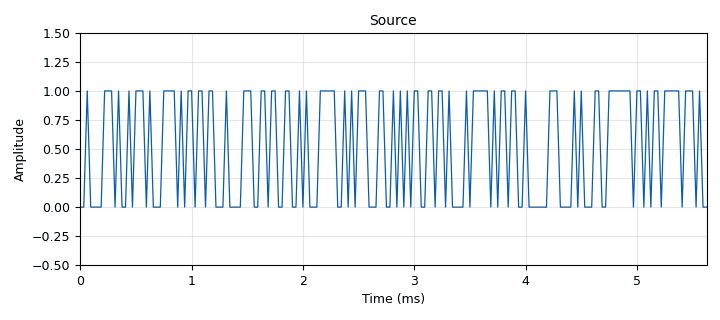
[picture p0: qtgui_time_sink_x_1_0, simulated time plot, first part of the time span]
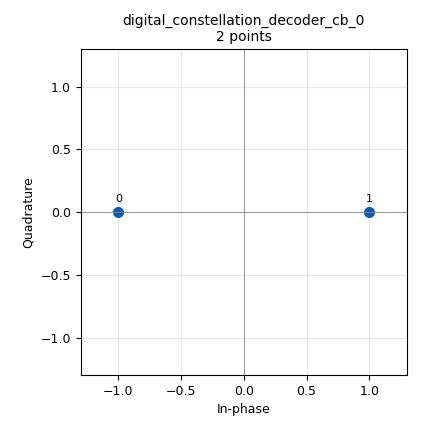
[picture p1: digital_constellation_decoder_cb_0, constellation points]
options:
  parameters:
    category: Custom
    generate_options: qt_gui
    id: bpsk_stage1
    output_language: python
    title: bpsk_stage1
  states: {}

blocks:
- name: bpsk
  id: variable_constellation
  parameters:
    precision: '8'
    type: bpsk
  states: {}
- name: excess_bw
  id: variable
  parameters:
    value: '0.35'
  states: {}
- name: rrc_taps
  id: variable
  parameters:
    value: firdes.root_raised_cosine(1, sps, 1, excess_bw, 45)
  states: {}
- name: samp_rate
  id: variable
  parameters:
    value: '32000'
  states: {}
- name: sps
  id: variable
  parameters:
    value: '4'
  states: {}
- name: ErTools_BitErrorRate_0
  id: ErTools_BitErrorRate
  parameters:
    EbN0max: '16'
    EbN0min: '0'
    N: '64'
    Rb: '1'
    fvz: '8'
  states: {}
- name: analog_fastnoise_source_x_0
  id: analog_fastnoise_source_x
  parameters:
    amp: '1'
    noise_type: analog.GR_GAUSSIAN
    samples: '8192'
    seed: '0'
    type: complex
  states: {}
- name: analog_random_source_x_0
  id: analog_random_source_x
  parameters:
    max: '2'
    min: '0'
    num_samps: '1024'
    repeat: 'True'
    type: byte
  states: {}
- name: blocks_add_xx_0
  id: blocks_add_xx
  parameters:
    type: complex
  states: {}
- name: blocks_char_to_float_0
  id: blocks_char_to_float
  parameters:
    scale: '1'
  states: {}
- name: blocks_char_to_float_0_0
  id: blocks_char_to_float
  parameters:
    scale: '1'
  states: {}
- name: blocks_stream_to_vector_0
  id: blocks_stream_to_vector
  parameters:
    num_items: '64'
    type: float
  states: {}
- name: blocks_throttle2_0
  id: blocks_throttle2
  parameters:
    samples_per_second: samp_rate
    type: complex
  states: {}
- name: blocks_throttle2_1
  id: blocks_throttle2
  parameters:
    samples_per_second: samp_rate
    type: float
  states: {}
- name: blocks_throttle2_1_0
  id: blocks_throttle2
  parameters:
    samples_per_second: samp_rate
    type: float
  states: {}
- name: digital_constellation_decoder_cb_0
  id: digital_constellation_decoder_cb
  parameters:
    constellation: bpsk
  states: {}
- name: digital_constellation_decoder_cb_0_0
  id: digital_constellation_decoder_cb
  parameters:
    constellation: bpsk
  states: {}
- name: digital_constellation_modulator_0
  id: digital_constellation_modulator
  parameters:
    constellation: bpsk
    differential: 'True'
    excess_bw: excess_bw
    samples_per_symbol: sps
  states: {}
- name: qtgui_histogram_sink_x_0
  id: qtgui_histogram_sink_x
  parameters:
    bins: '2024'
    grid: 'True'
    name: '"log Pb"'
    size: '1024'
    type: float
    xmax: '1'
    xmin: '-10'
  states: {}
- name: qtgui_time_sink_x_1
  id: qtgui_time_sink_x
  parameters:
    name: '"AWGN"'
    size: '1024'
    srate: samp_rate
    type: float
    ymax: '2'
    ymin: '-2'
  states: {}
- name: qtgui_time_sink_x_1_0
  id: qtgui_time_sink_x
  parameters:
    name: '"Source"'
    size: '1024'
    srate: samp_rate
    type: float
    ymax: '1.5'
    ymin: '-0.5'
  states: {}
- name: qtgui_vector_sink_f_0
  id: qtgui_vector_sink_f
  parameters:
    grid: 'True'
    gui_hint: 2,0,1,1
    name: '"BER"'
    vlen: '64'
    x_axis_label: '"Es/N0 [dB]"'
    x_start: '0'
    x_step: '0.125'
    x_units: '"dB"'
    y_axis_label: BER
    ymax: '0'
    ymin: '-8'
  states: {}

connections:
- [ErTools_BitErrorRate_0, '0', digital_constellation_decoder_cb_0_0, '0']
- [ErTools_BitErrorRate_0, '1', blocks_stream_to_vector_0, '0']
- [ErTools_BitErrorRate_0, '1', qtgui_histogram_sink_x_0, '0']
- [analog_fastnoise_source_x_0, '0', blocks_add_xx_0, '1']
- [analog_random_source_x_0, '0', ErTools_BitErrorRate_0, '0']
- [analog_random_source_x_0, '0', blocks_char_to_float_0, '0']
- [analog_random_source_x_0, '0', digital_constellation_modulator_0, '0']
- [blocks_add_xx_0, '0', digital_constellation_decoder_cb_0, '0']
- [blocks_char_to_float_0, '0', blocks_throttle2_1, '0']
- [blocks_char_to_float_0_0, '0', blocks_throttle2_1_0, '0']
- [blocks_stream_to_vector_0, '0', qtgui_vector_sink_f_0, '0']
- [blocks_throttle2_0, '0', ErTools_BitErrorRate_0, '1']
- [blocks_throttle2_0, '0', blocks_add_xx_0, '0']
- [blocks_throttle2_1, '0', qtgui_time_sink_x_1_0, '0']
- [blocks_throttle2_1_0, '0', qtgui_time_sink_x_1, '0']
- [digital_constellation_decoder_cb_0, '0', ErTools_BitErrorRate_0, '2']
- [digital_constellation_decoder_cb_0_0, '0', blocks_char_to_float_0_0, '0']
- [digital_constellation_modulator_0, '0', blocks_throttle2_0, '0']

metadata:
  file_format: 1
  grc_version: 3.10.9.2
